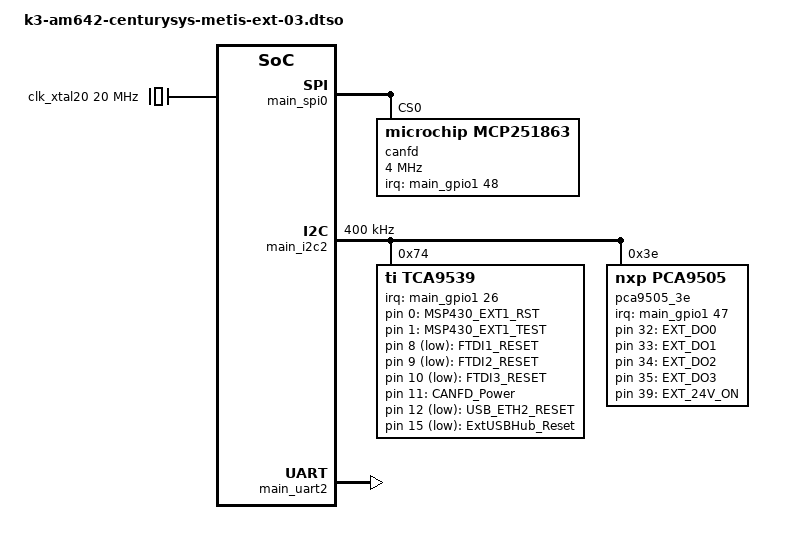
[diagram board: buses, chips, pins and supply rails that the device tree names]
// SPDX-License-Identifier: GPL-2.0
/**
 * DT overlay for RS1244 expansion board on Century Systems MA-X3xx
 *
 * Copyright (C) 2022,2024 Century Systems
 */

/dts-v1/;
/plugin/;
#include <dt-bindings/gpio/gpio.h>
#include <dt-bindings/interrupt-controller/irq.h>
#include "k3-pinctrl.h"

&{/} {
	/* Fixed clock dedicated to SPI CANFD on expansion board */
	clk_xtal20: clk-xtal20 {
		compatible = "fixed-clock";
		#clock-cells = <0>;
		clock-frequency = <20000000>;
	};
};

&main_pmx0 {
	main_spi0_pins_default: main-spi0-pins-default {
		pinctrl-single,pins = <
			AM64X_IOPAD(0x0210, PIN_INPUT, 0) /* (D13) SPI0_CLK */
			AM64X_IOPAD(0x0208, PIN_OUTPUT, 0) /* (D12) SPI0_CS0 */
			AM64X_IOPAD(0x020c, PIN_OUTPUT, 0) /* (C13) SPI0_CS1 */
			AM64X_IOPAD(0x0214, PIN_OUTPUT, 0) /* (A13) SPI0_D0 */
			AM64X_IOPAD(0x0218, PIN_INPUT, 0) /* (A14) SPI0_D1 */
		>;
	};

	main_uart2_rs485_pins_default: main-uart2-rs485-default-pins {
		pinctrl-single,pins = <
			AM64X_IOPAD(0x003c, PIN_INPUT, 2) 		/* (T20) UART2_RXD */
			AM64X_IOPAD(0x0040, PIN_OUTPUT, 2)		/* (U21) UART2_TXD */
			AM64X_IOPAD(0x0044, PIN_OUTPUT, 2)		/* (T18) UART2_RTSn */
		>;
	};

	main_i2c2_tca9539_pins_default: main-i2c2-tca9539-pins-default {
		pinctrl-single,pins = <
			AM64X_IOPAD(0x01c8, PIN_INPUT, 7) /* (R5) PRG0_PRU1_GPO6.GPIO1_26 */
		>;
	};

	main_i2c2_pca9505_3e_pins_default: main-i2c2-pca9505-3e-pins-default {
		pinctrl-single,pins = <
			AM64X_IOPAD(0x021c, PIN_INPUT, 7) /* (B14) SPI1_CS0.GPIO1_47 */
		>;
	};

	main_spi0_mcp251863_pins_default: main-spi0-mcp251863-pins-default {
		pinctrl-single,pins = <
			AM64X_IOPAD(0x0220, PIN_INPUT, 7) /* (D14) SPI1_CS1.GPIO1_48 */
		>;
	};
};

&main_spi0 {
	#address-cells = <1>;
	#size-cells = <0>;
	pinctrl-names = "default";
	pinctrl-0 = <&main_spi0_pins_default>;
	ti,pindir-d0-out-d1-in = <1>;
	status = "okay";

	/* CANFD controller on the expantion board */
	canfd: can@0 {
		compatible = "microchip,mcp251863";
		clocks = <&clk_xtal20>;
		pinctrl-0 = <&main_spi0_mcp251863_pins_default>;
		interrupt-parent = <&main_gpio1>;
		interrupts = <48 IRQ_TYPE_EDGE_FALLING>;
		reg = <0>;
		spi-max-frequency = <4000000>;
	};
};

&main_i2c2 {
	#address-cells = <1>;
	#size-cells = <0>;
	pinctrl-names = "default";
	pinctrl-0 = <&main_i2c2_pins_default>;
	clock-frequency = <400000>;
	status = "okay";

	tca9539: tca9539@74 {
		compatible = "ti,tca9539";
		reg = <0x74>;
		#address-cells = <1>;
		#size-cells = <0>;
		gpio-controller;
		#gpio-cells = <2>;
		pinctrl-names = "default";
		pinctrl-0 = <&main_i2c2_tca9539_pins_default>;
		interrupt-parent = <&main_gpio1>;
		interrupts = <26 IRQ_TYPE_EDGE_FALLING>;
		interrupt-controller;
		#interrupt-cells = <2>;

		gpio-line-names = "MSP430_EXT1_RST",
				  "MSP430_EXT1_TEST",
				  "",
				  "",
				  "",
				  "",
				  "",
				  "",
				  "FTDI1_RESET_N",
				  "FTDI2_RESET_N",
				  "FTDI3_RESET_N",
				  "CAN_LDO5V_EN",
				  "ETH2_RESET_N",
				  "",
				  "",
				  "ExtUSB_HUB_RESET";
	};

	pca9505_3e: pca9505@3e {
		compatible = "nxp,pca9505";
		reg = <0x3e>;
		#address-cells = <1>;
		#size-cells = <0>;
		#gpio-cells = <2>;
		pinctrl-names = "default";
		pinctrl-0 = <&main_i2c2_pca9505_3e_pins_default>;
		interrupt-parent = <&main_gpio1>;
		interrupts = <47 IRQ_TYPE_EDGE_FALLING>;
		interrupt-controller;
		#interrupt-cells = <2>;

		gpio-line-names = "EXT_DI0", "EXT_DI1", "EXT_DI2", "EXT_DI3",
				  "EXT_DI4", "EXT_DI5", "EXT_DI6", "EXT_DI7",
				  "EXT_DI8", "EXT_DI9", "EXT_DI10", "EXT_DI11",
				  "", "", "EXT_CounterINT1", "EXT_24V_Fail",
				  "Filtered_DI0", "Filtered_DI1", "Filtered_DI2", "Filtered_DI3",
				  "Filtered_DI4", "Filtered_DI5", "Filtered_DI6", "Filtered_DI7",
				  "Filtered_DI8", "Filtered_DI9", "Filtered_DI10", "Filtered_DI11",
				  "", "", "", "",
				  "EXT_DO0", "EXT_DO1", "EXT_DO2", "EXT_DO3",
				  "", "", "", "EXT_24V_ON";
	};
};

&main_uart2 {
	pinctrl-names = "default";
	pinctrl-0 = <&main_uart2_rs485_pins_default>;
	linux,rs485-enabled-at-boot-time;
	rs485-rts-active-low;
	status = "okay";
};

&{/} {
	leds_ext: leds_ext {
		compatible = "gpio-leds";
		status = "okay";

		msp430_ext1_rst {
			label = "MSP430_EXT1_RST";
			gpios = <&tca9539 0 GPIO_ACTIVE_HIGH>;
		};

		msp430_ext1_test {
			label = "MSP430_EXT1_TEST";
			gpios = <&tca9539 1 GPIO_ACTIVE_HIGH>;
		};

		ftdi1_reset {
			label = "FTDI1_RESET";
			gpios = <&tca9539 8 GPIO_ACTIVE_LOW>;
			linux,default-trigger = "oneshot";
			led-pattern = <200 100>;
		};

		ftdi2_reset {
			label = "FTDI2_RESET";
			gpios = <&tca9539 9 GPIO_ACTIVE_LOW>;
			linux,default-trigger = "oneshot";
			led-pattern = <200 100>;
		};

		ftdi3_reset {
			label = "FTDI3_RESET";
			gpios = <&tca9539 10 GPIO_ACTIVE_LOW>;
			linux,default-trigger = "oneshot";
			led-pattern = <200 100>;
		};

		canfd_power {
			label = "CANFD_Power";
			gpios = <&tca9539 11 GPIO_ACTIVE_HIGH>;
			default-state = "on";
		};

		eth2_reset {
			label = "USB_ETH2_RESET";
			gpios = <&tca9539 12 GPIO_ACTIVE_LOW>;
			linux,default-trigger = "oneshot";
			led-pattern = <200 100>;
		};

		usb_hub_reset {
			label = "ExtUSBHub_Reset";
			gpios = <&tca9539 15 GPIO_ACTIVE_LOW>;
			linux,default-trigger = "oneshot";
			led-pattern = <50 100>;
		};
	};

	leds_ext_3e: leds_ext_3e {
		compatible = "gpio-leds";
		status = "okay";

		ext_do0 {
			label = "EXT_DO0";
			gpios = <&pca9505_3e 32 GPIO_ACTIVE_HIGH>;
			retain-state-suspended;
			retain-state-shutdown;
			default-state = "keep";
		};

		ext_do1 {
			label = "EXT_DO1";
			gpios = <&pca9505_3e 33 GPIO_ACTIVE_HIGH>;
			retain-state-suspended;
			retain-state-shutdown;
			default-state = "keep";
		};

		ext_do2 {
			label = "EXT_DO2";
			gpios = <&pca9505_3e 34 GPIO_ACTIVE_HIGH>;
			retain-state-suspended;
			retain-state-shutdown;
			default-state = "keep";
		};

		ext_do3 {
			label = "EXT_DO3";
			gpios = <&pca9505_3e 35 GPIO_ACTIVE_HIGH>;
			retain-state-suspended;
			retain-state-shutdown;
			default-state = "keep";
		};

		ext_24v_on {
			label = "EXT_24V_ON";
			gpios = <&pca9505_3e 39 GPIO_ACTIVE_HIGH>;
			retain-state-suspended;
			retain-state-shutdown;
			default-state = "keep";
		};
	};
};
